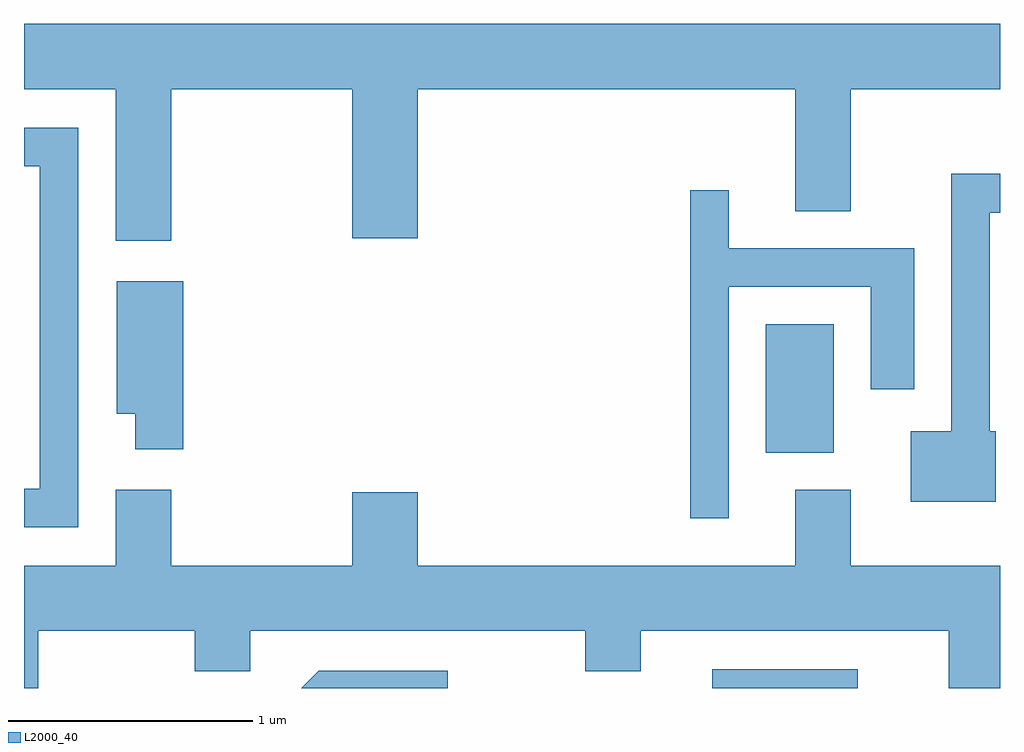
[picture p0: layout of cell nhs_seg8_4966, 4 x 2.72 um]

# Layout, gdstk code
import gdstk
lib = gdstk.Library(unit=1e-6, precision=1e-09)
def R(c, l, rs):  # rectangles x0, y0, x1, y1
    for r in rs: c.add(gdstk.rectangle(r[:2], r[2:], *l))
def P(c, l, *ps):  # polygons
    for p in ps: c.add(gdstk.Polygon(p, *l))
L2000_40 = (2000, 40)

nhs_seg8_4966 = lib.new_cell('nhs_seg8_4966')
R(nhs_seg8_4966, L2000_40, [(336.431,1898.342,337.028,1898.419), (336.651,1899.306,336.929,1899.834)])
P(nhs_seg8_4966, L2000_40, [(334.214,1900.796),(334.956,1900.796),(334.956,1900.186),(335.224,1900.186),(335.224,1900.796),(336.771,1900.796),(336.771,1900.296),(336.999,1900.296),(336.999,1900.796),(337.611,1900.796),(337.611,1901.064),(333.611,1901.064),(333.611,1900.796),(333.986,1900.796),(333.986,1900.176),(334.214,1900.176)],
  [(333.834,1900.639),(333.611,1900.639),(333.611,1900.481),(333.676,1900.481),(333.676,1899.159),(333.611,1899.159),(333.611,1899.001),(333.834,1899.001)],
  [(337.594,1899.394),(337.569,1899.394),(337.569,1900.291),(337.611,1900.291),(337.611,1900.449),(337.411,1900.449),(337.411,1899.394),(337.246,1899.394),(337.246,1899.106),(337.594,1899.106)],
  [(336.499,1899.986),(337.081,1899.986),(337.081,1899.566),(337.259,1899.566),(337.259,1900.144),(336.499,1900.144),(336.499,1900.383),(336.341,1900.383),(336.341,1899.038),(336.499,1899.038)],
  [(334.264,1900.009),(333.991,1900.009),(333.991,1899.466),(334.066,1899.466),(334.066,1899.321),(334.264,1899.321)],
  [(333.669,1898.576),(334.311,1898.576),(334.311,1898.411),(334.539,1898.411),(334.539,1898.576),(335.911,1898.576),(335.911,1898.411),(336.139,1898.411),(336.139,1898.576),(337.401,1898.576),(337.401,1898.342),(337.611,1898.342),(337.611,1898.844),(336.999,1898.844),(336.999,1899.154),(336.771,1899.154),(336.771,1898.844),(335.224,1898.844),(335.224,1899.144),(334.956,1899.144),(334.956,1898.844),(334.214,1898.844),(334.214,1899.154),(333.986,1899.154),(333.986,1898.844),(333.611,1898.844),(333.611,1898.342),(333.669,1898.342)],
  [(335.348,1898.414),(334.819,1898.414),(334.747,1898.342),(335.348,1898.342)])

lib.write_gds('nhs_seg8_4966.gds')
